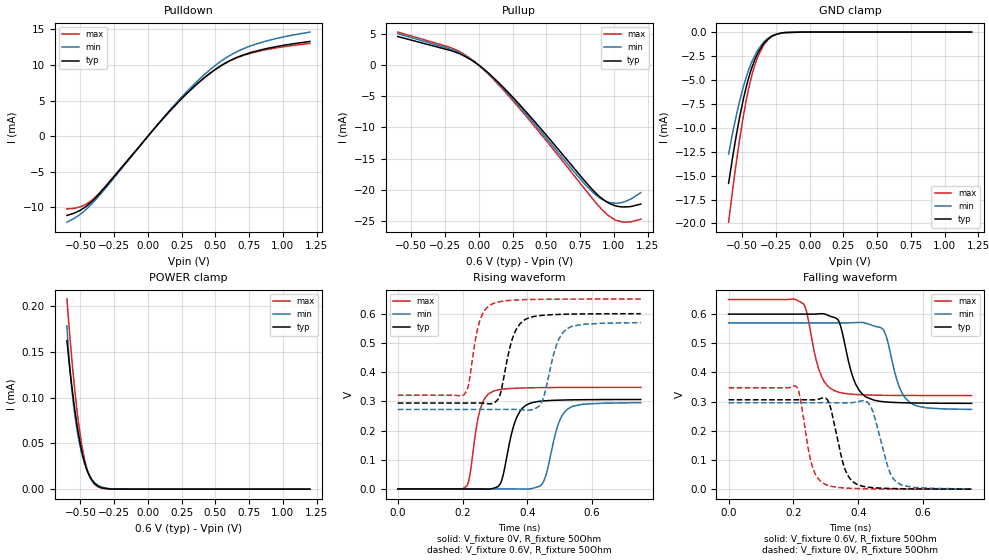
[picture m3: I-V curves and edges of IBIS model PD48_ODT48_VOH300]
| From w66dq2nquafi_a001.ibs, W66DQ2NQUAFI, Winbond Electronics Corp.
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[Model]   PD48_ODT48_VOH300
Model_type   I/O
Polarity   Non-Inverting
Enable   Active-Low
Vinl = 0.08
Vinh = 0.22
Vmeas = 0.15
Vref = 0
Cref = 0pF
Rref = 48
|   typ   min   max
C_comp   1.15pF   1.05pF   1.25pF
[Voltage Range]   0.6   0.57   0.65
[Temperature Range]   25   95   -40
[Pullup Reference]   0.6   0.57   0.65
[Pulldown Reference]   0   0   0
[Power Clamp Reference]   0.6   0.57   0.65
[GND Clamp Reference]   0   0   0
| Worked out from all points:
|   slope of the pulldown table from 0 to 0.09 V, typ, clamps not added: 44.9 ohm
|   slope of the pullup table from 0 to 0.09 V, typ, clamps not added: 55 ohm
|   GND clamp passes 1 mA (typ) near -0.33 V on its own axis
|   falling waveform, V_fixture 0.6V, R_fixture 50Ohm: 20-80 % time 44.1ps typ, 44.2ps min, 41.4ps max; typ from 0.6 V to 0.294 V
|   rising waveform, V_fixture 0V, R_fixture 50Ohm: 20-80 % time 39.2ps typ, 40.4ps min, 30.4ps max; typ from 0 V to 0.306 V
|   rising waveform, V_fixture 0.6V, R_fixture 50Ohm: 20-80 % time 39.7ps typ, 41.6ps min, 32.9ps max; typ from 0.294 V to 0.6 V
|   falling waveform, V_fixture 0V, R_fixture 50Ohm: 20-80 % time 40ps typ, 43.9ps min, 34.9ps max; typ from 0.306 V to 0 V
[Pulldown]
|   Voltage   I(typ)   I(min)   I(max)
-600mV    -11.13mA   -12.08mA   -10.21mA
-492.1mV  -10.3mA    -10.83mA   -9.856mA
-451.1mV  -9.763mA   -10.17mA   -9.475mA
-403.2mV  -8.949mA   -9.255mA   -8.791mA
-306.2mV  -6.922mA   -7.137mA   -6.853mA
174.8mV   3.798mA    3.937mA    3.79mA
342.8mV   6.987mA    7.312mA    6.964mA
507mV     9.493mA    10.06mA    9.454mA
624.4mV   10.78mA    11.53mA    10.73mA
771.5mV   11.81mA    12.77mA    11.71mA
954mV     12.6mA     13.74mA    12.42mA
1.2V      13.31mA    14.63mA    13.04mA
[GND Clamp]
|   Voltage   I(typ)   I(min)   I(max)
-600mV    -15.82mA   -12.76mA   -19.87mA
-568.8mV  -12.97mA   -10.46mA   -16.35mA
-518.8mV  -8.937mA   -7.244mA   -11.26mA
-492.1mV  -7.106mA   -5.79mA    -8.903mA
-451.8mV  -4.807mA   -3.981mA   -5.925mA
-426.7mV  -3.67mA    -3.074mA   -4.45mA
-403.7mV  -2.811mA   -2.383mA   -3.346mA
-381.7mV  -2.155mA   -1.833mA   -2.498mA
-335.5mV  -1.13mA    -972.8uA   -1.256mA
-283.7mV  -462.1uA   -440.6uA   -493.5uA
-182.7mV  -51.83uA   -59.24uA   -36.98uA
1.2V      0A         0A         0A
[Pullup]
|   Voltage   I(typ)   I(min)   I(max)
-600mV    4.593mA    5.058mA    5.311mA
-191.1mV  2.23mA     2.452mA    2.674mA
-118.9mV  1.596mA    1.728mA    1.9mA
-50uV     -1.263uA   777.4nA    876.5nA
139.9mV   -2.658mA   -2.782mA   -2.988mA
297.2mV   -6.213mA   -6.495mA   -6.824mA
773.1mV   -18.3mA    -18.82mA   -19.57mA
898.5mV   -21.18mA   -21.36mA   -22.87mA
969.8mV   -22.23mA   -22.07mA   -24.31mA
1.028V    -22.67mA   -22.17mA   -25mA
1.124V    -22.72mA   -21.54mA   -25.18mA
1.2V      -22.32mA   -20.48mA   -24.74mA
[POWER Clamp]
|   Voltage   I(typ)   I(min)   I(max)
-600mV    162.4uA    178.3uA    207.7uA
-580.6mV  134.6uA    136.3uA    171.3uA
-564.1mV  113uA      109.2uA    142.8uA
-552.1mV  98.55uA    93.06uA    123.7uA
-518.8mV  64.14uA    59.31uA    77.64uA
-492.1mV  42.99uA    40.1uA     49.8uA
-470mV    29.54uA    28.24uA    32.62uA
-451.1mV  20.8uA     20.74uA    21.87uA
-426.4mV  12.59uA    13.31uA    12.3uA
-381.6mV  4.594uA    5.445uA    3.653uA
-268.8mV  147.7nA    312.3nA    33.95nA
1.2V      0A         0A         0A
[Ramp]
R_load = 50
|   typ   min   max
dV/dt_r 1.8378E-01/3.9175E-11   1.7722E-01/4.0410E-11   2.0862E-01/3.0381E-11
dV/dt_f 1.8350E-01/4.3978E-11   1.7803E-01/4.4196E-11   1.9746E-01/4.1232E-11
[Falling Waveform]
V_fixture = 0.6V
V_fixture_min = 0.57V
V_fixture_max = 0.65V
R_fixture = 50Ohm
C_fixture = 0F
|   Time   V(typ)   V(min)   V(max)
0s        600mV      570mV      650mV
231ps     600mV      570mV      635.3mV
279ps     601.1mV    570mV      408.6mV
327ps     588.2mV    570mV      337.3mV
384ps     382.6mV    570.6mV    325.3mV
425ps     315.4mV    568.6mV    322.9mV
480ps     299.5mV    542.2mV    321.7mV
524ps     296.7mV    358.5mV    321.3mV
559ps     295.6mV    297.6mV    321.1mV
750ps     294.2mV    273.3mV    320.9mV
[Rising Waveform]
V_fixture = 0V
V_fixture_min = 0V
V_fixture_max = 0V
R_fixture = 50Ohm
C_fixture = 0F
|   Time   V(typ)   V(min)   V(max)
0s        4.822uV    15.86uV    954.9nV
213ps     2.839uV    15.85uV    10.11mV
256ps     11.2uV     16.08uV    278mV
295ps     2.225mV    15.13uV    334.7mV
318ps     21.36mV    16.09uV    340.6mV
360ps     224.1mV    52.79uV    344.5mV
395ps     285.7mV    -494.3uV   345.9mV
451ps     301.5mV    27.84mV    347mV
524ps     304.7mV    273.3mV    347.5mV
750ps     306.3mV    295.4mV    347.7mV
[Rising Waveform]
V_fixture = 0.6V
V_fixture_min = 0.57V
V_fixture_max = 0.65V
R_fixture = 50Ohm
C_fixture = 0F
|   Time   V(typ)   V(min)   V(max)
0s        294mV      272.3mV    320.9mV
204ps     294mV      272.3mV    321.9mV
252ps     294.2mV    272.3mV    571.6mV
295ps     293.3mV    272.3mV    635mV
317ps     327.4mV    272.3mV    641.5mV
355ps     518.3mV    272.4mV    646.1mV
392ps     579.2mV    270.4mV    648mV
446ps     594.2mV    300.7mV    649.2mV
519ps     598.1mV    545.2mV    649.8mV
750ps     599.9mV    569.3mV    650mV
[Falling Waveform]
|Gnd
V_fixture = 0V
V_fixture_min = 0V
V_fixture_max = 0V
R_fixture = 50Ohm
C_fixture = 0F
|   Time   V(typ)   V(min)   V(max)
0s        306.4mV    296.1mV    347.7mV
210ps     306.4mV    296.1mV    351mV
256ps     306.1mV    296.1mV    87.03mV
304ps     307.5mV    296.1mV    13.7mV
355ps     82.33mV    295.9mV    4.313mV
392ps     19.1mV     298.5mV    2.316mV
440ps     5.673mV    280.1mV    1.096mV
492ps     2.555mV    75.42mV    450.9uV
517ps     1.846mV    25.47mV    307.2uV
750ps     89.41uV    782.7uV    -15.13uV
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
